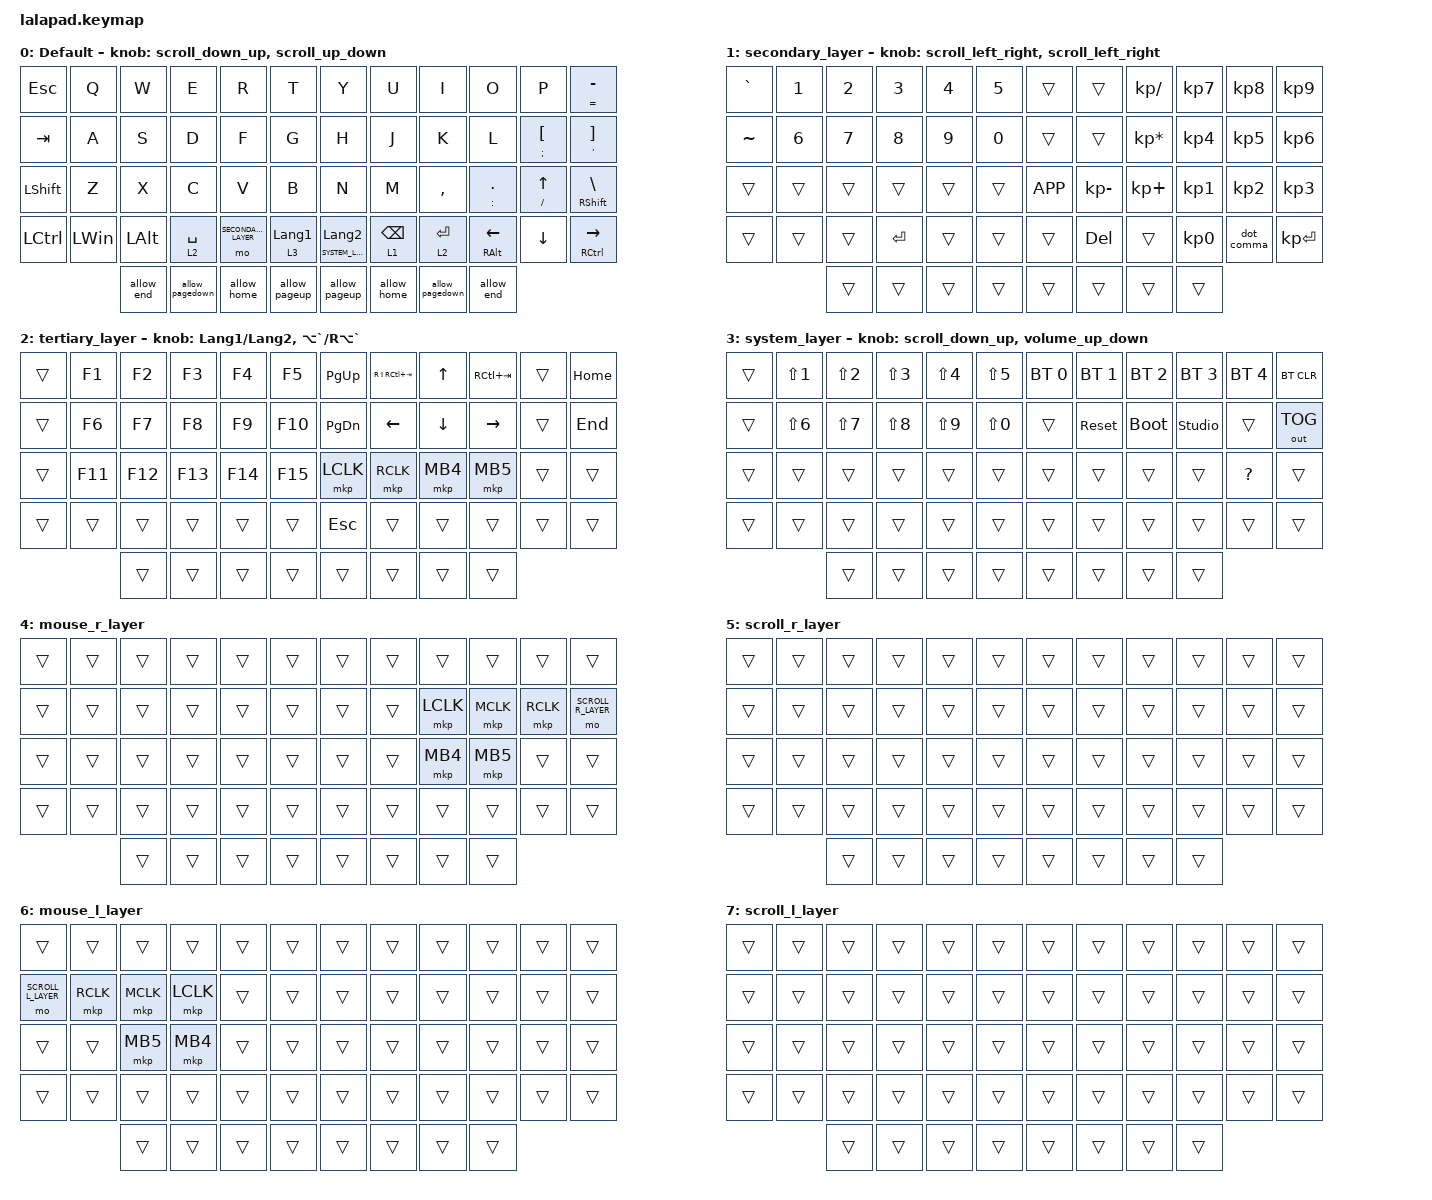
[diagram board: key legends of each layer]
#include <input/processors.dtsi>
#include <behaviors.dtsi>
#include <dt-bindings/zmk/bt.h>
#include <dt-bindings/zmk/keys.h>
#include <dt-bindings/zmk/outputs.h>
#include <dt-bindings/zmk/pointing.h>

#define DEFAULT_LAYER   0
#define SECONDARY_LAYER 1
#define TERTIARY_LAYER  2
#define SYSTEM_LAYER    3
#define MOUSE_R_LAYER   4
#define SCROLL_R_LAYER  5
#define MOUSE_L_LAYER   6
#define SCROLL_L_LAYER  7

// Mouse Scroll Value

#define ZMK_POINTING_DEFAULT_SCRL_VAL 100

// cirque trackpad input&layer control

&glidepoint_listener_R {
    input-processors =
        <&zip_xy_transform (INPUT_TRANSFORM_XY_SWAP | INPUT_TRANSFORM_X_INVERT | INPUT_TRANSFORM_Y_INVERT)>,
        <&zip_xy_scaler 2 1>,
        <&zip_temp_layer MOUSE_R_LAYER 500>;

    lowspeedmode {
        layers = <SECONDARY_LAYER>;
        input-processors =
            <&zip_xy_transform (INPUT_TRANSFORM_XY_SWAP | INPUT_TRANSFORM_X_INVERT | INPUT_TRANSFORM_Y_INVERT)>,
            <&zip_xy_scaler 3 5>,
            <&zip_temp_layer MOUSE_R_LAYER 500>;
    };

    scroller {
        layers = <SCROLL_R_LAYER>;
        input-processors =
            <&zip_xy_to_scroll_mapper>,
            <&zip_scroll_transform (INPUT_TRANSFORM_XY_SWAP | INPUT_TRANSFORM_Y_INVERT)>,
            <&zip_scroll_scaler 1 8>;
    };
};

&glidepoint_listener_L {
    input-processors =
        <&zip_xy_transform (INPUT_TRANSFORM_XY_SWAP | INPUT_TRANSFORM_X_INVERT | INPUT_TRANSFORM_Y_INVERT)>,
        <&zip_xy_scaler 2 1>;

    //,
    //<&zip_temp_layer MOUSE_L_LAYER 500>;

    lowspeedmode {
        layers = <SECONDARY_LAYER>;
        input-processors =
            <&zip_xy_transform (INPUT_TRANSFORM_XY_SWAP | INPUT_TRANSFORM_X_INVERT | INPUT_TRANSFORM_Y_INVERT)>,
            <&zip_xy_scaler 3 5>;

        //,
        //<&zip_temp_layer MOUSE_L_LAYER 500>;
    };

    scroller {
        layers = <SCROLL_L_LAYER>;
        input-processors =
            <&zip_xy_to_scroll_mapper>,
            <&zip_scroll_transform (INPUT_TRANSFORM_XY_SWAP | INPUT_TRANSFORM_Y_INVERT)>,
            <&zip_scroll_scaler 1 6>;
    };
};

/ {
    behaviors {
        // Encoder to Mouse Scroll

        scroll_up_down: sensor_scroll_up_down {
            compatible = "zmk,behavior-sensor-rotate";
            #sensor-binding-cells = <0>;
            bindings = <&msc SCRL_UP>, <&msc SCRL_DOWN>;

            tap-ms = <20>;
            label = "SCROLL_UP_DOWN";
        };

        scroll_down_up: sensor_scroll_down_up {
            compatible = "zmk,behavior-sensor-rotate";
            #sensor-binding-cells = <0>;
            bindings = <&msc SCRL_DOWN>, <&msc SCRL_UP>;

            tap-ms = <20>;
            label = "SCROLL_DOWN_UP";
        };

        scroll_left_right: sensor_scroll_left_right {
            compatible = "zmk,behavior-sensor-rotate";
            #sensor-binding-cells = <0>;
            bindings = <&msc SCRL_LEFT>, <&msc SCRL_RIGHT>;

            tap-ms = <20>;
            label = "SCROLL_LEFT_RIGHT";
        };

        scroll_right_left: sensor_scroll_right_left {
            compatible = "zmk,behavior-sensor-rotate";
            #sensor-binding-cells = <0>;
            bindings = <&msc SCRL_RIGHT>, <&msc SCRL_LEFT>;

            tap-ms = <20>;
            label = "SCROLL_RIGHT_LEFT";
        };

        volume_up_down: sensor_volume_up_down {
            compatible = "zmk,behavior-sensor-rotate";
            #sensor-binding-cells = <0>;
            bindings = <&kp C_VOLUME_UP>, <&kp C_VOLUME_DOWN>;

            tap-ms = <20>;
            label = "VOLUME_UP_DOWN";
        };

        dot_comma: dot_comma {
            compatible = "zmk,behavior-mod-morph";
            #binding-cells = <0>;
            bindings = <&kp KP_DOT>, <&kp COMMA>;

            mods = <(MOD_LSFT|MOD_RSFT)>;
            label = "DOT_COMMA";
        };

        pls_minus: pls_minus {
            compatible = "zmk,behavior-mod-morph";
            #binding-cells = <0>;
            bindings = <&kp PLUS>, <&kp MINUS>;

            mods = <(MOD_LSFT|MOD_RSFT)>;
            label = "PLS_MINUS";
        };

        allow_pageup: allow_pageup {
            compatible = "zmk,behavior-mod-morph";
            #binding-cells = <0>;
            bindings = <&kp UP>, <&kp PAGE_UP>;

            mods = <(MOD_LCTL|MOD_RCTL)>;
            label = "ALLOW_PAGEUP";
        };

        allow_pagedown: allow_pagedown {
            compatible = "zmk,behavior-mod-morph";
            #binding-cells = <0>;
            bindings = <&kp DOWN>, <&kp PAGE_DOWN>;

            mods = <(MOD_LCTL|MOD_RCTL)>;
            label = "ALLOW_PAGEDOWN";
        };

        allow_home: allow_home {
            compatible = "zmk,behavior-mod-morph";
            #binding-cells = <0>;
            bindings = <&kp LEFT>, <&kp HOME>;

            mods = <(MOD_LCTL|MOD_RCTL)>;
            label = "ALLOW_HOME";
        };

        allow_end: allow_end {
            compatible = "zmk,behavior-mod-morph";
            #binding-cells = <0>;
            bindings = <&kp RIGHT>, <&kp END>;

            mods = <(MOD_LCTL|MOD_RCTL)>;
            label = "ALLOW_END";
        };

        mt2: mod_tap2 {
            compatible = "zmk,behavior-hold-tap";
            #binding-cells = <2>;
            flavor = "tap-preferred";
            tapping-term-ms = <200>;
            quick-tap-ms = <200>;
            require-prior-idle-ms = <125>;
            bindings = <&kp>, <&kp>;
        };

        lt2: lt2 {
            compatible = "zmk,behavior-hold-tap";
            label = "LT2";
            bindings = <&mo>, <&kp>;

            #binding-cells = <2>;
            tapping-term-ms = <200>;
            quick-tap-ms = <200>;
            require-prior-idle-ms = <125>;
            flavor = "tap-preferred";
        };
    };

    combos {
        compatible = "zmk,combos";

        num_lock {
            bindings = <&kp KP_NUMLOCK>;
            key-positions = <41 42>;
        };

        qwe_esc {
            bindings = <&kp ESCAPE>;
            key-positions = <1 2 3>;
        };

        sdf_tab {
            bindings = <&kp TAB>;
            key-positions = <15 14 16>;
        };
    };

    keymap {
        compatible = "zmk,keymap";

        DEFAULT_LAYER {
            display-name = "Default";
            sensor-bindings = <&scroll_down_up>, <&scroll_up_down>;

            bindings = <
&kp ESC    &kp Q         &kp W         &kp E            &kp R                &kp T             &kp Y                        &kp U             &kp I            &kp O                &kp P           &mt EQUAL MINUS
&kp TAB    &kp A         &kp S         &kp D            &kp F                &kp G             &kp H                        &kp J             &kp K            &kp L                &mt2 SEMI LBKT  &mt2 SQT RBKT
&kp LSHFT  &kp Z         &kp X         &kp C            &kp V                &kp B             &kp N                        &kp M             &kp COMMA        &mt2 COLON PERIOD    &mt2 SLASH UP   &mt RSHFT BSLH
&kp LCTRL  &kp LEFT_WIN  &kp LEFT_ALT  &lt2 2 SPACE     &mo SECONDARY_LAYER  &lt 3 LANGUAGE_1  &lt SYSTEM_LAYER LANGUAGE_2  &lt2 1 BACKSPACE  &lt2 2 ENTER     &mt2 RIGHT_ALT LEFT  &kp DOWN        &mt2 RCTRL RIGHT
                         &allow_end    &allow_pagedown  &allow_home          &allow_pageup     &allow_pageup                &allow_home       &allow_pagedown  &allow_end
            >;
        };

        SECONDARY_LAYER {
            display-name = "secondary_layer";
            sensor-bindings = <&scroll_left_right>, <&scroll_left_right>;

            bindings = <
&kp GRAVE  &kp NUMBER_1  &kp NUMBER_2  &kp NUMBER_3  &kp NUMBER_4  &kp NUMBER_5  &trans     &trans        &kp KP_SLASH     &kp KP_NUMBER_7  &kp KP_NUMBER_8  &kp KP_NUMBER_9
&kp TILDE  &kp NUMBER_6  &kp NUMBER_7  &kp NUMBER_8  &kp NUMBER_9  &kp NUMBER_0  &trans     &trans        &kp KP_ASTERISK  &kp KP_NUMBER_4  &kp KP_NUMBER_5  &kp KP_NUMBER_6
&trans     &trans        &trans        &trans        &trans        &trans        &kp K_APP  &kp KP_MINUS  &kp KP_PLUS      &kp KP_NUMBER_1  &kp KP_NUMBER_2  &kp KP_NUMBER_3
&trans     &trans        &trans        &kp ENTER     &trans        &trans        &trans     &kp DELETE    &trans           &kp KP_NUMBER_0  &dot_comma       &kp KP_ENTER
                         &trans        &trans        &trans        &trans        &trans     &trans        &trans           &trans
            >;
        };

        TERTIARY_LAYER {
            display-name = "tertiary_layer";
            bindings = <
&trans  &kp F1   &kp F2   &kp F3   &kp F4   &kp F5   &kp PG_UP      &kp RS(RC(TAB))  &kp UP    &kp RC(TAB)  &trans  &kp HOME
&trans  &kp F6   &kp F7   &kp F8   &kp F9   &kp F10  &kp PAGE_DOWN  &kp LEFT         &kp DOWN  &kp RIGHT    &trans  &kp END
&trans  &kp F11  &kp F12  &kp F13  &kp F14  &kp F15  &mkp LCLK      &mkp RCLK        &mkp MB4  &mkp MB5     &trans  &trans
&trans  &trans   &trans   &trans   &trans   &trans   &kp ESC        &trans           &trans    &trans       &trans  &trans
                 &trans   &trans   &trans   &trans   &trans         &trans           &trans    &trans
            >;

            sensor-bindings =
                <&inc_dec_kp LANGUAGE_1 LANGUAGE_2>,
                <&inc_dec_kp LA(GRAVE) RA(GRAVE)>;
        };

        SYSTEM_LAYER {
            display-name = "system_layer";
            sensor-bindings = <&scroll_down_up>, <&volume_up_down>;

            bindings = <
&trans  &kp LS(NUMBER_1)  &kp LS(NUMBER_2)  &kp LS(NUMBER_3)  &kp LS(NUMBER_4)  &kp LS(N5)  &bt BT_SEL 0  &bt BT_SEL 1  &bt BT_SEL 2  &bt BT_SEL 3    &bt BT_SEL 4  &bt BT_CLR
&trans  &kp LS(NUMBER_6)  &kp LS(N7)        &kp LS(N8)        &kp LS(N9)        &kp LS(N0)  &trans        &sys_reset    &bootloader   &studio_unlock  &trans        &out OUT_TOG
&trans  &trans            &trans            &trans            &trans            &trans      &trans        &trans        &trans        &trans          &kp QUESTION  &trans
&trans  &trans            &trans            &trans            &trans            &trans      &trans        &trans        &trans        &trans          &trans        &trans
                          &trans            &trans            &trans            &trans      &trans        &trans        &trans        &trans
            >;
        };

        MOUSE_R_LAYER {
            display-name = "mouse_r_layer";
            bindings = <
&trans  &trans  &trans  &trans  &trans  &trans  &trans  &trans  &trans     &trans     &trans     &trans
&trans  &trans  &trans  &trans  &trans  &trans  &trans  &trans  &mkp LCLK  &mkp MCLK  &mkp RCLK  &mo SCROLL_R_LAYER
&trans  &trans  &trans  &trans  &trans  &trans  &trans  &trans  &mkp MB4   &mkp MB5   &trans     &trans
&trans  &trans  &trans  &trans  &trans  &trans  &trans  &trans  &trans     &trans     &trans     &trans
                &trans  &trans  &trans  &trans  &trans  &trans  &trans     &trans
            >;
        };

        SCROLL_R_LAYER {
            display-name = "scroll_r_layer";
            bindings = <
&trans  &trans  &trans  &trans  &trans  &trans  &trans  &trans  &trans  &trans  &trans  &trans
&trans  &trans  &trans  &trans  &trans  &trans  &trans  &trans  &trans  &trans  &trans  &trans
&trans  &trans  &trans  &trans  &trans  &trans  &trans  &trans  &trans  &trans  &trans  &trans
&trans  &trans  &trans  &trans  &trans  &trans  &trans  &trans  &trans  &trans  &trans  &trans
                &trans  &trans  &trans  &trans  &trans  &trans  &trans  &trans
            >;
        };

        MOUSE_L_LAYER {
            display-name = "mouse_l_layer";
            bindings = <
&trans              &trans     &trans     &trans     &trans  &trans  &trans  &trans  &trans  &trans  &trans  &trans
&mo SCROLL_L_LAYER  &mkp RCLK  &mkp MCLK  &mkp LCLK  &trans  &trans  &trans  &trans  &trans  &trans  &trans  &trans
&trans              &trans     &mkp MB5   &mkp MB4   &trans  &trans  &trans  &trans  &trans  &trans  &trans  &trans
&trans              &trans     &trans     &trans     &trans  &trans  &trans  &trans  &trans  &trans  &trans  &trans
                               &trans     &trans     &trans  &trans  &trans  &trans  &trans  &trans
            >;
        };

        SCROLL_L_LAYER {
            display-name = "scroll_l_layer";
            bindings = <
&trans  &trans  &trans  &trans  &trans  &trans  &trans  &trans  &trans  &trans  &trans  &trans
&trans  &trans  &trans  &trans  &trans  &trans  &trans  &trans  &trans  &trans  &trans  &trans
&trans  &trans  &trans  &trans  &trans  &trans  &trans  &trans  &trans  &trans  &trans  &trans
&trans  &trans  &trans  &trans  &trans  &trans  &trans  &trans  &trans  &trans  &trans  &trans
                &trans  &trans  &trans  &trans  &trans  &trans  &trans  &trans
            >;
        };
    };
};
